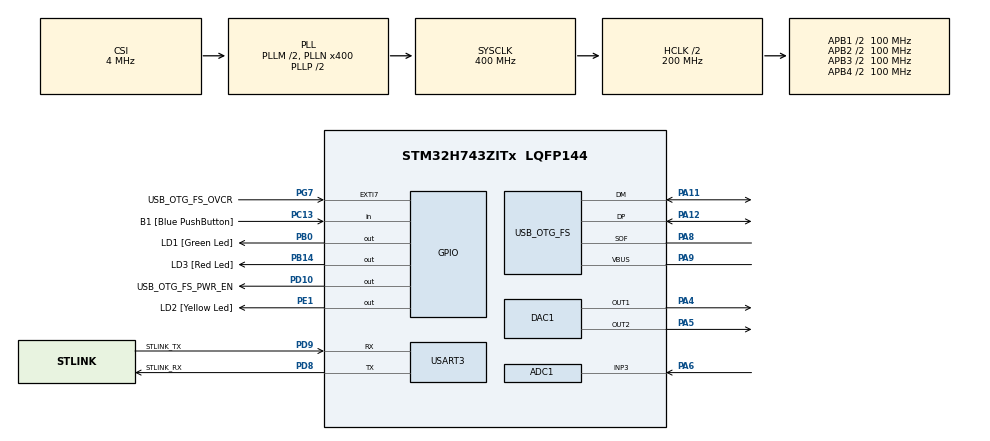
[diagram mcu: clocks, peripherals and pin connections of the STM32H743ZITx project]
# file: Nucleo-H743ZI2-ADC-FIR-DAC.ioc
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ADC1.Channel-0\#ChannelRegularConversion=ADC_CHANNEL_3
ADC1.ExternalTrigConv=ADC_EXTERNALTRIG_T6_TRGO
ADC1.NbrOfConversionFlag=1
ADC1.OffsetNumber-0\#ChannelRegularConversion=ADC_OFFSET_NONE
ADC1.OffsetSignedSaturation-0\#ChannelRegularConversion=DISABLE
ADC1.Rank-0\#ChannelRegularConversion=1
ADC1.Resolution=ADC_RESOLUTION_12B
ADC1.SamplingTime-0\#ChannelRegularConversion=ADC_SAMPLETIME_1CYCLE_5
ADC1.master=1
DAC1.DAC_Channel-DAC_OUT1=DAC_CHANNEL_1
DAC1.DAC_Channel-DAC_OUT2=DAC_CHANNEL_2
DAC1.DAC_SampleAndHold-DAC_OUT2=DAC_SAMPLEANDHOLD_DISABLE
DAC1.DAC_UserTrimming-DAC_OUT2=DAC_TRIMMING_FACTORY
Mcu.Family=STM32H7
Mcu.Name=STM32H743ZITx
Mcu.Package=LQFP144
NVIC.ADC_IRQn=true\:0\:0\:false\:false\:true\:true\:true\:true
NVIC.PriorityGroup=NVIC_PRIORITYGROUP_4
NVIC.TIM6_DAC_IRQn=true\:0\:0\:false\:false\:true\:true\:true\:true
PA1.Signal=ETH_REF_CLK
PA11.Mode=Device_Only
PA11.Signal=USB_OTG_FS_DM
PA12.Mode=Device_Only
PA12.Signal=USB_OTG_FS_DP
PA13\ (JTMS/SWDIO).Mode=Serial_Wire
PA13\ (JTMS/SWDIO).Signal=DEBUG_JTMS-SWDIO
PA14\ (JTCK/SWCLK).Mode=Serial_Wire
PA14\ (JTCK/SWCLK).Signal=DEBUG_JTCK-SWCLK
PA2.Signal=ETH_MDIO
PA4.Signal=COMP_DAC11_group
PA5.Signal=COMP_DAC12_group
PA6.Signal=ADCx_INP3
PA7.Signal=ETH_CRS_DV
PA8.Mode=Activate_SOF_FS
PA8.Signal=USB_OTG_FS_SOF
PA9.Mode=Activate_VBUS
PA9.Signal=USB_OTG_FS_VBUS
PB0.GPIO_Label=LD1 [Green Led]
PB0.Signal=GPIO_Output
PB13.Signal=ETH_TXD1
PB14.GPIO_Label=LD3 [Red Led]
PB14.Signal=GPIO_Output
PC1.Signal=ETH_MDC
PC13.GPIO_Label=B1 [Blue PushButton]
PC13.Signal=GPIO_Input
PC14-OSC32_IN\ (OSC32_IN).Signal=RCC_OSC32_IN
PC15-OSC32_OUT\ (OSC32_OUT).Signal=RCC_OSC32_OUT
PC4.Signal=ETH_RXD0
PC5.Signal=ETH_RXD1
PD10.GPIO_Label=USB_OTG_FS_PWR_EN
PD10.Signal=GPIO_Output
PD8.GPIO_Label=STLINK_RX
PD8.Mode=Asynchronous
PD8.Signal=USART3_TX
PD9.GPIO_Label=STLINK_TX
PD9.Mode=Asynchronous
PD9.Signal=USART3_RX
PE1.GPIO_Label=LD2 [Yellow Led]
PE1.Signal=GPIO_Output
PG11.Signal=ETH_TX_EN
PG13.Signal=ETH_TXD0
PG7.GPIO_Label=USB_OTG_FS_OVCR
PG7.Signal=GPXTI7
PH0-OSC_IN\ (PH0).Signal=RCC_OSC_IN
PH1-OSC_OUT\ (PH1).Signal=RCC_OSC_OUT
ProjectManager.HeapSize=0x800
ProjectManager.StackSize=0x800
ProjectManager.TargetToolchain=EWARM V8.50
RCC.ADCFreq_Value=75000000
RCC.APB1Freq_Value=100000000
RCC.APB2Freq_Value=100000000
RCC.APB3Freq_Value=100000000
RCC.APB4Freq_Value=100000000
RCC.CortexFreq_Value=400000000
RCC.D1PPRE=RCC_APB3_DIV2
RCC.D2PPRE1=RCC_APB1_DIV2
RCC.D2PPRE2=RCC_APB2_DIV2
RCC.D3PPRE=RCC_APB4_DIV2
RCC.DIVM1=2
RCC.DIVM2=4
RCC.DIVM3=4
RCC.DIVN1=400
RCC.DIVN2=150
RCC.DIVN3=150
RCC.DIVQ2=1
RCC.DIVQ3=1
RCC.DIVR1=4
RCC.HCLKFreq_Value=200000000
RCC.HPRE=RCC_HCLK_DIV2
RCC.HSE_VALUE=8000000
RCC.PLL2FRACN=0
RCC.PLL3FRACN=0
RCC.PLLFRACN=0
RCC.PLLSourceVirtual=RCC_PLLSOURCE_CSI
RCC.PWR_Regulator_Voltage_Scale=PWR_REGULATOR_VOLTAGE_SCALE0
RCC.SYSCLKFreq_VALUE=400000000
RCC.SYSCLKSource=RCC_SYSCLKSOURCE_PLLCLK
RCC.USART234578CLockSelection=RCC_USART234578CLKSOURCE_HSI
RCC.USBCLockSelection=RCC_USBCLKSOURCE_HSI48
RCC.USBFreq_Value=48000000
SH.ADCx_INP3.0=ADC1_INP3,IN3-Single-Ended
SH.COMP_DAC11_group.0=DAC1_OUT1,DAC_OUT1
SH.COMP_DAC12_group.0=DAC1_OUT2,DAC_OUT2
TIM6.Period=9
TIM6.Prescaler=199
TIM6.TIM_MasterOutputTrigger=TIM_TRGO_UPDATE
USART3.VirtualMode-Asynchronous=VM_ASYNC
USB_OTG_FS.VirtualMode=Device_Only
VP_MEMORYMAP_VS_MEMORYMAP.Mode=CurAppReg
VP_TIM6_VS_ClockSourceINT.Mode=Enable_Timer
board=NUCLEO-H743ZI2

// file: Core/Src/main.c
/* USER CODE BEGIN Header */
/**
  ******************************************************************************
  * @file           : main.c
  * @brief          : Main program body
  ******************************************************************************
  * @attention
  *
  * Copyright (c) 2025 STMicroelectronics.
  * All rights reserved.
  *
  * This software is licensed under terms that can be found in the LICENSE file
  * in the root directory of this software component.
  * If no LICENSE file comes with this software, it is provided AS-IS.
  *
  ******************************************************************************
  */
/* USER CODE END Header */
#include "main.h"

ADC_HandleTypeDef hadc1;

DAC_HandleTypeDef hdac1;

TIM_HandleTypeDef htim6;

UART_HandleTypeDef huart3;

PCD_HandleTypeDef hpcd_USB_OTG_FS;

void SystemClock_Config(void);
static void MX_GPIO_Init(void);
static void MX_USART3_UART_Init(void);
static void MX_USB_OTG_FS_PCD_Init(void);
static void MX_ADC1_Init(void);
static void MX_DAC1_Init(void);
static void MX_TIM6_Init(void);

/* USER CODE BEGIN 0 */

GPIO_PinState MyButton;

uint32_t adc_value = 0;

/******************************************************************************/
/* 3rd Order Low Pass Butterworth                                             */
/* Impulse Invariant Transformation                                           */
/* Sample Frequency = 100.0 KHz                                               */
/* Standard Form                                                              */
/* Arithmetic Precision = 8 Digits                                            */
/*                                                                            */
/* Pass Band Frequency = 2.000 KHz                                            */
/*                                                                            */
/******************************************************************************/
/*
float IIR_FILTER(float invar, int initval, int setic)
{
    float sumnum=0.0, sumden=0.0;  int i=0;
    static float states[3] = {0.0,0.0,0.0};
    static float znum[3] = {
        0.0,
        8.3840825e-04,
        9.1165698e-04
    };
    static float zden[3] = {
        -.77776768,
        2.5285206,
        -2.7490028
    };
    if (setic==1){

        //for (i=0;i<3;i++) states[i] = [i] = [i]*initval;
        return initval;
    }
    else{
        sumnum = sumden = 0.0;
        for (i=0;i<3;i++){
            sumden += states[i]*zden[i];
            sumnum += states[i]*znum[i];
            if (i<2) states[i] = states[i+1];
        }
        states[2] = invar-sumden;
        return sumnum;
    }
}
*/

/******************************************************************************/
/* 5th Order Low Pass Bessel                                                  */
/* Matched Z Transformation                                                   */
/* Sample Frequency = 100.0 KHz                                               */
/* Standard Form                                                              */
/* Arithmetic Precision = 8 Digits                                            */
/*                                                                            */
/* Pass Band Frequency = 4.000 KHz                                            */
/*                                                                            */
/******************************************************************************/

float IIR_FILTER(float invar, int initval, int setic)
{
    float sumnum=0.0, sumden=0.0;  int i=0;
    static float states[5] = {0.0,0.0,0.0,0.0,0.0};
    static float zden[5] = {
        -.38376163,
        2.2964782,
        -5.5276281,
        6.6919984,
        -4.0764641
    };
    if (setic==1){
        for (i=0;i<5;i++) states[i] = initval;
        return initval;
    }
    else{
        sumnum = sumden = 0.0;
        for (i=0;i<5;i++){
            sumden += states[i]*zden[i];
            if (i<4) states[i] = states[i+1];
        }
        states[4] = invar-sumden;
        sumnum += states[4]*6.2278428e-04;
        return sumnum;
    }
}

void HAL_TIM_PeriodElapsedCallback(TIM_HandleTypeDef *htim)
{
    if (htim == &htim6)
    {
        __NOP();
        __NOP();
        __NOP();
        __NOP();

        //HAL_GPIO_TogglePin( LD2_GPIO_Port, LD2_Pin);
    }
}

uint32_t IIR_in;
uint32_t IIR_out;

void HAL_ADC_ConvCpltCallback(ADC_HandleTypeDef *hadc)
{
    if (hadc == &hadc1)
    {
        HAL_GPIO_TogglePin( LD2_GPIO_Port, LD2_Pin);

        HAL_GPIO_WritePin( LD3_GPIO_Port, LD3_Pin, GPIO_PIN_RESET );

        IIR_in = adc_value = HAL_ADC_GetValue(&hadc1);

        IIR_out = (uint32_t)IIR_FILTER( (float)IIR_in, 0, 0 );

        HAL_DAC_SetValue(&hdac1, DAC_CHANNEL_1, DAC_ALIGN_12B_R, IIR_in);

        HAL_DAC_SetValue(&hdac1, DAC_CHANNEL_2, DAC_ALIGN_12B_R, IIR_out);

        HAL_GPIO_WritePin( LD3_GPIO_Port, LD3_Pin, GPIO_PIN_SET );
    }

}

/* USER CODE END 0 */

int main(void)
{

  /* MCU Configuration--------------------------------------------------------*/

  /* Reset of all peripherals, Initializes the Flash interface and the Systick. */
  HAL_Init();

  /* Configure the system clock */
  SystemClock_Config();

  /* Initialize all configured peripherals */
  MX_GPIO_Init();
  MX_USART3_UART_Init();
  MX_USB_OTG_FS_PCD_Init();
  MX_ADC1_Init();
  MX_DAC1_Init();
  MX_TIM6_Init();

  /* Infinite loop */
  /* USER CODE BEGIN WHILE */

  HAL_DAC_Start(&hdac1, DAC_CHANNEL_1);
  HAL_DAC_Start(&hdac1, DAC_CHANNEL_2);

  HAL_ADCEx_Calibration_Start( &hadc1, ADC_CALIB_OFFSET_LINEARITY, ADC_SINGLE_ENDED);

  HAL_TIM_Base_Start_IT(&htim6);

   if(HAL_ADC_Start_IT(&hadc1) != HAL_OK)
   {
        Error_Handler();
   }

  while (1)
  {

      MyButton = HAL_GPIO_ReadPin( B1_GPIO_Port, B1_Pin );

      if ( MyButton == GPIO_PIN_RESET )
      {
          HAL_GPIO_WritePin( LD1_GPIO_Port, LD1_Pin, GPIO_PIN_SET );
      }
      else
      {
          HAL_GPIO_WritePin( LD1_GPIO_Port, LD1_Pin, GPIO_PIN_RESET );
      }

    /* USER CODE END WHILE */

  }
}

void SystemClock_Config(void)
{
  RCC_OscInitTypeDef RCC_OscInitStruct = {0};
  RCC_ClkInitTypeDef RCC_ClkInitStruct = {0};

  /** Supply configuration update enable
  */
  HAL_PWREx_ConfigSupply(PWR_LDO_SUPPLY);

  /** Configure the main internal regulator output voltage
  */
  __HAL_PWR_VOLTAGESCALING_CONFIG(PWR_REGULATOR_VOLTAGE_SCALE1);

  while(!__HAL_PWR_GET_FLAG(PWR_FLAG_VOSRDY)) {}

  __HAL_RCC_SYSCFG_CLK_ENABLE();
  __HAL_PWR_VOLTAGESCALING_CONFIG(PWR_REGULATOR_VOLTAGE_SCALE0);

  while(!__HAL_PWR_GET_FLAG(PWR_FLAG_VOSRDY)) {}

  /** Initializes the RCC Oscillators according to the specified parameters
  * in the RCC_OscInitTypeDef structure.
  */
  RCC_OscInitStruct.OscillatorType = RCC_OSCILLATORTYPE_HSI48|RCC_OSCILLATORTYPE_CSI
                              |RCC_OSCILLATORTYPE_HSI;
  RCC_OscInitStruct.HSIState = RCC_HSI_DIV1;
  RCC_OscInitStruct.HSICalibrationValue = RCC_HSICALIBRATION_DEFAULT;
  RCC_OscInitStruct.HSI48State = RCC_HSI48_ON;
  RCC_OscInitStruct.CSIState = RCC_CSI_ON;
  RCC_OscInitStruct.CSICalibrationValue = RCC_CSICALIBRATION_DEFAULT;
  RCC_OscInitStruct.PLL.PLLState = RCC_PLL_ON;
  RCC_OscInitStruct.PLL.PLLSource = RCC_PLLSOURCE_CSI;
  RCC_OscInitStruct.PLL.PLLM = 2;
  RCC_OscInitStruct.PLL.PLLN = 400;
  RCC_OscInitStruct.PLL.PLLP = 2;
  RCC_OscInitStruct.PLL.PLLQ = 2;
  RCC_OscInitStruct.PLL.PLLR = 4;
  RCC_OscInitStruct.PLL.PLLRGE = RCC_PLL1VCIRANGE_1;
  RCC_OscInitStruct.PLL.PLLVCOSEL = RCC_PLL1VCOWIDE;
  RCC_OscInitStruct.PLL.PLLFRACN = 0;
  if (HAL_RCC_OscConfig(&RCC_OscInitStruct) != HAL_OK)
  {
    Error_Handler();
  }

  /** Initializes the CPU, AHB and APB buses clocks
  */
  RCC_ClkInitStruct.ClockType = RCC_CLOCKTYPE_HCLK|RCC_CLOCKTYPE_SYSCLK
                              |RCC_CLOCKTYPE_PCLK1|RCC_CLOCKTYPE_PCLK2
                              |RCC_CLOCKTYPE_D3PCLK1|RCC_CLOCKTYPE_D1PCLK1;
  RCC_ClkInitStruct.SYSCLKSource = RCC_SYSCLKSOURCE_PLLCLK;
  RCC_ClkInitStruct.SYSCLKDivider = RCC_SYSCLK_DIV1;
  RCC_ClkInitStruct.AHBCLKDivider = RCC_HCLK_DIV2;
  RCC_ClkInitStruct.APB3CLKDivider = RCC_APB3_DIV2;
  RCC_ClkInitStruct.APB1CLKDivider = RCC_APB1_DIV2;
  RCC_ClkInitStruct.APB2CLKDivider = RCC_APB2_DIV2;
  RCC_ClkInitStruct.APB4CLKDivider = RCC_APB4_DIV2;

  if (HAL_RCC_ClockConfig(&RCC_ClkInitStruct, FLASH_LATENCY_2) != HAL_OK)
  {
    Error_Handler();
  }
}

static void MX_ADC1_Init(void)
{

  ADC_MultiModeTypeDef multimode = {0};
  ADC_ChannelConfTypeDef sConfig = {0};

  /** Common config
  */
  hadc1.Instance = ADC1;
  hadc1.Init.ScanConvMode = ADC_SCAN_DISABLE;
  hadc1.Init.EOCSelection = ADC_EOC_SINGLE_CONV;
  hadc1.Init.LowPowerAutoWait = DISABLE;
  hadc1.Init.ContinuousConvMode = DISABLE;
  hadc1.Init.NbrOfConversion = 1;
  hadc1.Init.DiscontinuousConvMode = DISABLE;
  hadc1.Init.ExternalTrigConv = ADC_EXTERNALTRIG_T6_TRGO;
  hadc1.Init.ExternalTrigConvEdge = ADC_EXTERNALTRIGCONVEDGE_RISING;
  hadc1.Init.ConversionDataManagement = ADC_CONVERSIONDATA_DR;
  hadc1.Init.Overrun = ADC_OVR_DATA_PRESERVED;
  hadc1.Init.LeftBitShift = ADC_LEFTBITSHIFT_NONE;
  hadc1.Init.OversamplingMode = DISABLE;
  hadc1.Init.Oversampling.Ratio = 1;
  if (HAL_ADC_Init(&hadc1) != HAL_OK)
  {
    Error_Handler();
  }
  hadc1.Init.ClockPrescaler = ADC_CLOCK_ASYNC_DIV1;
  hadc1.Init.Resolution = ADC_RESOLUTION_12B;
  if (HAL_ADC_Init(&hadc1) != HAL_OK)
  {
    Error_Handler();
  }

  /** Configure the ADC multi-mode
  */
  multimode.Mode = ADC_MODE_INDEPENDENT;
  if (HAL_ADCEx_MultiModeConfigChannel(&hadc1, &multimode) != HAL_OK)
  {
    Error_Handler();
  }

  /** Configure Regular Channel
  */
  sConfig.Channel = ADC_CHANNEL_3;
  sConfig.Rank = ADC_REGULAR_RANK_1;
  sConfig.SamplingTime = ADC_SAMPLETIME_1CYCLE_5;
  sConfig.SingleDiff = ADC_SINGLE_ENDED;
  sConfig.OffsetNumber = ADC_OFFSET_NONE;
  sConfig.Offset = 0;
  sConfig.OffsetSignedSaturation = DISABLE;
  if (HAL_ADC_ConfigChannel(&hadc1, &sConfig) != HAL_OK)
  {
    Error_Handler();
  }

}

static void MX_DAC1_Init(void)
{

  DAC_ChannelConfTypeDef sConfig = {0};

  /** DAC Initialization
  */
  hdac1.Instance = DAC1;
  if (HAL_DAC_Init(&hdac1) != HAL_OK)
  {
    Error_Handler();
  }

  /** DAC channel OUT1 config
  */
  sConfig.DAC_SampleAndHold = DAC_SAMPLEANDHOLD_DISABLE;
  sConfig.DAC_Trigger = DAC_TRIGGER_NONE;
  sConfig.DAC_OutputBuffer = DAC_OUTPUTBUFFER_ENABLE;
  sConfig.DAC_ConnectOnChipPeripheral = DAC_CHIPCONNECT_DISABLE;
  sConfig.DAC_UserTrimming = DAC_TRIMMING_FACTORY;
  if (HAL_DAC_ConfigChannel(&hdac1, &sConfig, DAC_CHANNEL_1) != HAL_OK)
  {
    Error_Handler();
  }

  /** DAC channel OUT2 config
  */
  if (HAL_DAC_ConfigChannel(&hdac1, &sConfig, DAC_CHANNEL_2) != HAL_OK)
  {
    Error_Handler();
  }

}

static void MX_TIM6_Init(void)
{

  TIM_MasterConfigTypeDef sMasterConfig = {0};

  htim6.Instance = TIM6;
  htim6.Init.Prescaler = 199;
  htim6.Init.CounterMode = TIM_COUNTERMODE_UP;
  htim6.Init.Period = 9;
  htim6.Init.AutoReloadPreload = TIM_AUTORELOAD_PRELOAD_DISABLE;
  if (HAL_TIM_Base_Init(&htim6) != HAL_OK)
  {
    Error_Handler();
  }
  sMasterConfig.MasterOutputTrigger = TIM_TRGO_UPDATE;
  sMasterConfig.MasterSlaveMode = TIM_MASTERSLAVEMODE_DISABLE;
  if (HAL_TIMEx_MasterConfigSynchronization(&htim6, &sMasterConfig) != HAL_OK)
  {
    Error_Handler();
  }

}

static void MX_USART3_UART_Init(void)
{

  huart3.Instance = USART3;
  huart3.Init.BaudRate = 115200;
  huart3.Init.WordLength = UART_WORDLENGTH_8B;
  huart3.Init.StopBits = UART_STOPBITS_1;
  huart3.Init.Parity = UART_PARITY_NONE;
  huart3.Init.Mode = UART_MODE_TX_RX;
  huart3.Init.HwFlowCtl = UART_HWCONTROL_NONE;
  huart3.Init.OverSampling = UART_OVERSAMPLING_16;
  huart3.Init.OneBitSampling = UART_ONE_BIT_SAMPLE_DISABLE;
  huart3.Init.ClockPrescaler = UART_PRESCALER_DIV1;
  huart3.AdvancedInit.AdvFeatureInit = UART_ADVFEATURE_NO_INIT;
  if (HAL_UART_Init(&huart3) != HAL_OK)
  {
    Error_Handler();
  }
  if (HAL_UARTEx_SetTxFifoThreshold(&huart3, UART_TXFIFO_THRESHOLD_1_8) != HAL_OK)
  {
    Error_Handler();
  }
  if (HAL_UARTEx_SetRxFifoThreshold(&huart3, UART_RXFIFO_THRESHOLD_1_8) != HAL_OK)
  {
    Error_Handler();
  }
  if (HAL_UARTEx_DisableFifoMode(&huart3) != HAL_OK)
  {
    Error_Handler();
  }

}

static void MX_USB_OTG_FS_PCD_Init(void)
{

  hpcd_USB_OTG_FS.Instance = USB_OTG_FS;
  hpcd_USB_OTG_FS.Init.dev_endpoints = 9;
  hpcd_USB_OTG_FS.Init.speed = PCD_SPEED_FULL;
  hpcd_USB_OTG_FS.Init.dma_enable = DISABLE;
  hpcd_USB_OTG_FS.Init.phy_itface = PCD_PHY_EMBEDDED;
  hpcd_USB_OTG_FS.Init.Sof_enable = ENABLE;
  hpcd_USB_OTG_FS.Init.low_power_enable = DISABLE;
  hpcd_USB_OTG_FS.Init.lpm_enable = DISABLE;
  hpcd_USB_OTG_FS.Init.battery_charging_enable = ENABLE;
  hpcd_USB_OTG_FS.Init.vbus_sensing_enable = ENABLE;
  hpcd_USB_OTG_FS.Init.use_dedicated_ep1 = DISABLE;
  if (HAL_PCD_Init(&hpcd_USB_OTG_FS) != HAL_OK)
  {
    Error_Handler();
  }

}

static void MX_GPIO_Init(void)
{
  GPIO_InitTypeDef GPIO_InitStruct = {0};

  /* GPIO Ports Clock Enable */
  __HAL_RCC_GPIOC_CLK_ENABLE();
  __HAL_RCC_GPIOH_CLK_ENABLE();
  __HAL_RCC_GPIOA_CLK_ENABLE();
  __HAL_RCC_GPIOB_CLK_ENABLE();
  __HAL_RCC_GPIOD_CLK_ENABLE();
  __HAL_RCC_GPIOG_CLK_ENABLE();
  __HAL_RCC_GPIOE_CLK_ENABLE();

  /*Configure GPIO pin Output Level */
  HAL_GPIO_WritePin(GPIOB, LD1_Pin|LD3_Pin, GPIO_PIN_RESET);

  /*Configure GPIO pin Output Level */
  HAL_GPIO_WritePin(USB_OTG_FS_PWR_EN_GPIO_Port, USB_OTG_FS_PWR_EN_Pin, GPIO_PIN_RESET);

  /*Configure GPIO pin Output Level */
  HAL_GPIO_WritePin(LD2_GPIO_Port, LD2_Pin, GPIO_PIN_RESET);

  /*Configure GPIO pin : B1_Pin */
  GPIO_InitStruct.Pin = B1_Pin;
  GPIO_InitStruct.Mode = GPIO_MODE_INPUT;
  GPIO_InitStruct.Pull = GPIO_NOPULL;
  HAL_GPIO_Init(B1_GPIO_Port, &GPIO_InitStruct);

  /*Configure GPIO pins : PC1 PC4 PC5 */
  GPIO_InitStruct.Pin = GPIO_PIN_1|GPIO_PIN_4|GPIO_PIN_5;
  GPIO_InitStruct.Mode = GPIO_MODE_AF_PP;
  GPIO_InitStruct.Pull = GPIO_NOPULL;
  GPIO_InitStruct.Speed = GPIO_SPEED_FREQ_LOW;
  GPIO_InitStruct.Alternate = GPIO_AF11_ETH;
  HAL_GPIO_Init(GPIOC, &GPIO_InitStruct);

  /*Configure GPIO pins : PA1 PA2 PA7 */
  GPIO_InitStruct.Pin = GPIO_PIN_1|GPIO_PIN_2|GPIO_PIN_7;
  GPIO_InitStruct.Mode = GPIO_MODE_AF_PP;
  GPIO_InitStruct.Pull = GPIO_NOPULL;
  GPIO_InitStruct.Speed = GPIO_SPEED_FREQ_LOW;
  GPIO_InitStruct.Alternate = GPIO_AF11_ETH;
  HAL_GPIO_Init(GPIOA, &GPIO_InitStruct);

  /*Configure GPIO pins : LD1_Pin LD3_Pin */
  GPIO_InitStruct.Pin = LD1_Pin|LD3_Pin;
  GPIO_InitStruct.Mode = GPIO_MODE_OUTPUT_PP;
  GPIO_InitStruct.Pull = GPIO_NOPULL;
  GPIO_InitStruct.Speed = GPIO_SPEED_FREQ_LOW;
  HAL_GPIO_Init(GPIOB, &GPIO_InitStruct);

  /*Configure GPIO pin : PB13 */
  GPIO_InitStruct.Pin = GPIO_PIN_13;
  GPIO_InitStruct.Mode = GPIO_MODE_AF_PP;
  GPIO_InitStruct.Pull = GPIO_NOPULL;
  GPIO_InitStruct.Speed = GPIO_SPEED_FREQ_LOW;
  GPIO_InitStruct.Alternate = GPIO_AF11_ETH;
  HAL_GPIO_Init(GPIOB, &GPIO_InitStruct);

  /*Configure GPIO pin : USB_OTG_FS_PWR_EN_Pin */
  GPIO_InitStruct.Pin = USB_OTG_FS_PWR_EN_Pin;
  GPIO_InitStruct.Mode = GPIO_MODE_OUTPUT_PP;
  GPIO_InitStruct.Pull = GPIO_NOPULL;
  GPIO_InitStruct.Speed = GPIO_SPEED_FREQ_LOW;
  HAL_GPIO_Init(USB_OTG_FS_PWR_EN_GPIO_Port, &GPIO_InitStruct);

  /*Configure GPIO pin : USB_OTG_FS_OVCR_Pin */
  GPIO_InitStruct.Pin = USB_OTG_FS_OVCR_Pin;
  GPIO_InitStruct.Mode = GPIO_MODE_IT_RISING;
  GPIO_InitStruct.Pull = GPIO_NOPULL;
  HAL_GPIO_Init(USB_OTG_FS_OVCR_GPIO_Port, &GPIO_InitStruct);

  /*Configure GPIO pins : PG11 PG13 */
  GPIO_InitStruct.Pin = GPIO_PIN_11|GPIO_PIN_13;
  GPIO_InitStruct.Mode = GPIO_MODE_AF_PP;
  GPIO_InitStruct.Pull = GPIO_NOPULL;
  GPIO_InitStruct.Speed = GPIO_SPEED_FREQ_LOW;
  GPIO_InitStruct.Alternate = GPIO_AF11_ETH;
  HAL_GPIO_Init(GPIOG, &GPIO_InitStruct);

  /*Configure GPIO pin : LD2_Pin */
  GPIO_InitStruct.Pin = LD2_Pin;
  GPIO_InitStruct.Mode = GPIO_MODE_OUTPUT_PP;
  GPIO_InitStruct.Pull = GPIO_NOPULL;
  GPIO_InitStruct.Speed = GPIO_SPEED_FREQ_LOW;
  HAL_GPIO_Init(LD2_GPIO_Port, &GPIO_InitStruct);

}

void Error_Handler(void)
{
  __disable_irq();
  while (1)
  {
  }
}
